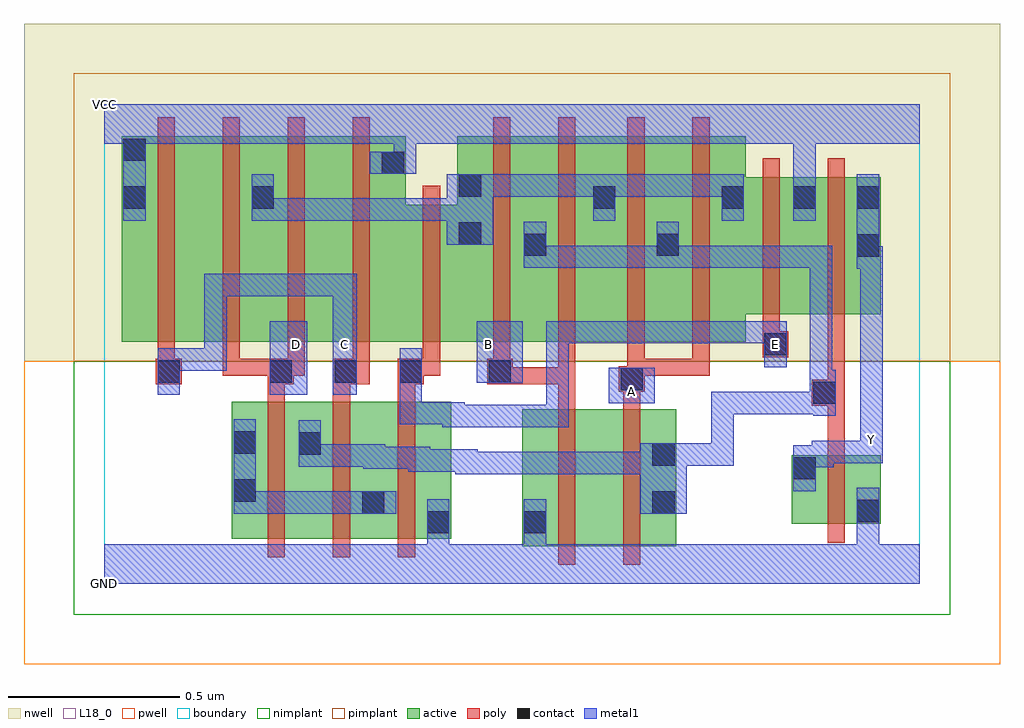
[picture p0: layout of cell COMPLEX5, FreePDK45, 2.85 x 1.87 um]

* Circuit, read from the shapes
.subckt COMPLEX5 A B C D E GND VCC Y
M1 n1 D n2 VSUBS nfet w=0.4u l=0.05u
M2 n2 C n1 VSUBS nfet w=0.4u l=0.05u
M3 GND E n2 VSUBS nfet w=0.4u l=0.05u
M4 n3 B GND VSUBS nfet w=0.4u l=0.05u
M5 n1 A n3 VSUBS nfet w=0.4u l=0.05u
M6 GND n1 Y VSUBS nfet w=0.2u l=0.05u
M7 n4 C VCC n5 pfet w=0.6u l=0.05u
M8 n6 D n4 n5 pfet w=0.6u l=0.05u
M9 n7 D n6 n5 pfet w=0.6u l=0.05u
M10 VCC C n7 n5 pfet w=0.6u l=0.05u
M11 n6 E VCC n5 pfet w=0.4u l=0.05u m=2
M12 n1 B n6 n5 pfet w=0.6u l=0.05u m=2
M13 n1 A n6 n5 pfet w=0.6u l=0.05u m=2
M14 Y n1 VCC n5 pfet w=0.4u l=0.05u
.ends

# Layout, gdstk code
import gdstk
lib = gdstk.Library(unit=1e-6, precision=1e-09)
def R(c, l, rs):  # rectangles x0, y0, x1, y1
    for r in rs: c.add(gdstk.rectangle(r[:2], r[2:], *l))
def A(c, l, x, y, w, h, nx, ny, dx, dy):  # array of equal rectangles
    R(c, l, [(x+i*dx, y+j*dy, x+i*dx+w, y+j*dy+h) for i in range(nx) for j in range(ny)])
active = (1, 0)
pwell = (2, 0)
nwell = (3, 0)
nimplant = (4, 0)
pimplant = (5, 0)
poly = (9, 0)
contact = (10, 0)
metal1 = (11, 0)
L18_0 = (18, 0)
boundary = (235, 0)

complex5 = lib.new_cell('COMPLEX5')
R(complex5, active, [(1.22,0.11,1.445,0.51), (1.445,0.11,1.67,0.51), (0.372,0.132,0.637,0.532), (0.562,0.132,0.822,0.532), (0.747,0.132,1.012,0.532), (0.937,0.142,1.012,0.532), (1.22,0.142,1.295,0.51), (2.007,0.175,2.267,0.375), (2.192,0.175,2.267,0.375), (0.372,0.195,0.447,0.532), (0.562,0.195,0.637,0.492), (0.747,0.195,0.822,0.492), (1.595,0.195,1.67,0.51), (2.007,0.2,2.082,0.375), (0.05,0.707,0.275,1.307), (0.05,0.707,0.125,1.305), (0.275,0.707,0.5,1.307), (0.425,0.707,0.5,1.2), (0.425,0.707,0.655,1.307), (0.655,0.707,0.88,1.307), (0.805,0.707,1.105,1.107), (1.03,0.707,1.295,1.307), (1.22,0.707,1.295,1.07), (1.22,0.707,1.497,1.307), (1.422,0.707,1.682,1.307), (1.422,0.707,1.497,1.2), (1.607,0.707,1.872,1.307), (1.607,0.707,1.682,1.07), (1.797,0.787,2.082,1.187), (1.797,0.787,1.872,1.2), (2.007,0.787,2.267,1.187), (2.007,0.787,2.082,1.165), (2.192,0.787,2.267,1.165), (0.805,0.802,0.88,1.267), (1.03,0.907,1.105,1.2)])
R(complex5, pwell, [(-0.235,-0.235,2.615,0.65)])
R(complex5, nwell, [(-0.235,0.65,2.615,1.635)])
R(complex5, nimplant, [(-0.09,-0.09,2.47,0.65)])
R(complex5, pimplant, [(-0.09,0.65,2.47,1.49)])
A(complex5, poly, 0.477, 0.077, 0.05, 0.51, 3, 1, 0.19, 0)
A(complex5, poly, 0.477, 0.537, 0.05, 0.095, 3, 1, 0.19, 0)
A(complex5, poly, 0.155, 0.607, 0.05, 0.095, 4, 1, 0.19, 0)
A(complex5, poly, 0.155, 0.652, 0.05, 0.71, 4, 1, 0.19, 0)
R(complex5, poly, [(1.325,0.055,1.375,0.565), (1.515,0.055,1.565,0.565), (2.112,0.12,2.162,0.43), (2.112,0.38,2.162,0.57), (1.325,0.515,1.375,0.632), (1.515,0.515,1.565,0.61), (2.065,0.52,2.162,0.595), (2.112,0.545,2.162,0.782), (2.112,0.545,2.162,0.595), (2.112,0.545,2.162,0.595), (1.502,0.56,1.577,0.635), (0.15,0.582,0.225,0.657), (0.477,0.582,0.552,0.657), (0.667,0.582,0.717,0.632), (0.667,0.582,0.717,0.632), (0.667,0.582,0.775,0.657), (0.857,0.582,0.932,0.657), (1.117,0.582,1.192,0.657), (1.142,0.582,1.192,0.632), (1.142,0.582,1.192,0.632), (1.142,0.582,1.375,0.632), (1.325,0.582,1.375,0.632), (1.325,0.582,1.375,0.632), (1.325,0.582,1.375,0.632), (1.325,0.582,1.375,0.702), (1.527,0.585,1.577,0.657), (0.345,0.607,0.395,0.657), (0.345,0.607,0.552,0.657), (0.502,0.607,0.552,0.657), (0.502,0.607,0.552,0.657), (0.502,0.607,0.552,0.657), (0.502,0.607,0.585,0.657), (0.882,0.607,0.932,0.657), (0.882,0.607,0.98,0.657), (0.93,0.607,0.98,0.702), (1.135,0.607,1.185,0.702), (1.527,0.607,1.577,0.657), (1.527,0.607,1.577,0.657), (1.527,0.607,1.577,0.657), (1.527,0.607,1.577,0.702), (1.527,0.607,1.767,0.657), (1.717,0.607,1.767,0.657), (1.717,0.607,1.767,0.702), (0.93,0.652,0.98,1.162), (1.135,0.652,1.185,1.362), (1.325,0.652,1.375,1.362), (1.527,0.652,1.577,1.362), (1.717,0.652,1.767,1.362), (1.922,0.662,1.997,0.737), (1.922,0.687,1.972,0.782), (1.922,0.732,1.972,1.242), (2.112,0.732,2.162,1.242)])
A(complex5, contact, 0.482, 0.587, 0.065, 0.065, 3, 1, 0.19, 0)
R(complex5, contact, [(0.942,0.147,1.007,0.212), (1.225,0.147,1.29,0.212), (2.197,0.18,2.262,0.245), (0.752,0.205,0.817,0.27), (1.6,0.205,1.665,0.27), (0.377,0.24,0.442,0.305), (2.012,0.305,2.077,0.37), (1.6,0.345,1.665,0.41), (0.567,0.377,0.632,0.442), (0.377,0.38,0.442,0.445), (2.07,0.525,2.135,0.59), (1.507,0.565,1.572,0.63), (0.155,0.587,0.22,0.652), (1.122,0.587,1.187,0.652), (1.927,0.667,1.992,0.732), (2.197,0.955,2.262,1.02), (1.225,0.957,1.29,1.022), (1.612,0.957,1.677,1.022), (1.035,0.99,1.1,1.055), (0.055,1.095,0.12,1.16), (0.43,1.095,0.495,1.16), (1.427,1.095,1.492,1.16), (1.802,1.095,1.867,1.16), (2.012,1.095,2.077,1.16), (2.197,1.095,2.262,1.16), (1.035,1.13,1.1,1.195), (0.81,1.197,0.875,1.262), (0.055,1.235,0.12,1.3)])
R(complex5, metal1, [(0,0,2.38,0.115), (0.942,0.05,1.007,0.177), (1.225,0.05,1.29,0.177), (2.197,0.05,2.262,0.115), (2.197,0.05,2.262,0.115), (2.197,0.05,2.262,0.115), (2.197,0.05,2.262,0.115), (2.197,0.05,2.262,0.21), (0.942,0.112,1.007,0.247), (1.225,0.112,1.29,0.247), (2.197,0.145,2.262,0.28), (0.377,0.205,0.442,0.48), (0.377,0.205,0.495,0.27), (0.43,0.205,0.495,0.27), (0.43,0.205,0.632,0.27), (0.567,0.205,0.632,0.27), (0.567,0.205,0.632,0.27), (0.567,0.205,0.632,0.27), (0.567,0.205,0.782,0.27), (0.717,0.205,0.852,0.27), (1.565,0.205,1.7,0.41), (2.012,0.27,2.077,0.405), (1.025,0.32,1.09,0.385), (1.025,0.32,1.09,0.385), (1.025,0.32,1.272,0.385), (1.025,0.32,1.09,0.392), (1.207,0.32,1.272,0.385), (1.207,0.32,1.4,0.385), (1.335,0.32,1.4,0.385), (1.335,0.32,1.492,0.385), (1.427,0.32,1.492,0.385), (1.427,0.32,1.63,0.385), (1.565,0.32,1.63,0.385), (1.565,0.32,1.63,0.385), (0.887,0.327,1.09,0.392), (0.887,0.327,0.952,0.4), (0.755,0.335,0.82,0.407), (0.755,0.335,0.952,0.4), (2.012,0.34,2.13,0.405), (2.065,0.34,2.13,0.417), (0.567,0.342,0.632,0.407), (0.567,0.342,0.632,0.407), (0.567,0.342,0.632,0.477), (0.567,0.342,0.82,0.407), (1.635,0.345,1.837,0.41), (1.772,0.345,1.837,0.41), (1.772,0.345,1.837,0.41), (1.772,0.345,1.837,0.41), (1.772,0.345,1.837,0.56), (2.065,0.352,2.272,0.417), (2.207,0.352,2.272,0.417), (2.207,0.352,2.272,0.417), (2.207,0.352,2.272,0.487), (2.207,0.422,2.272,0.985), (0.987,0.457,1.09,0.522), (0.987,0.457,1.052,0.53), (1.025,0.457,1.09,0.522), (1.025,0.457,1.355,0.522), (1.29,0.457,1.355,0.522), (1.29,0.457,1.355,0.767), (0.862,0.465,1.052,0.53), (0.862,0.465,0.927,0.687), (2.07,0.49,2.135,0.625), (1.772,0.495,1.837,0.56), (1.772,0.495,1.992,0.56), (1.927,0.495,1.992,0.56), (1.927,0.495,2.125,0.56), (2.06,0.495,2.125,0.56), (2.06,0.495,2.135,0.56), (2.06,0.495,2.125,0.987), (1.472,0.527,1.607,0.63), (0.155,0.552,0.22,0.687), (0.482,0.552,0.592,0.767), (0.667,0.552,0.737,0.905), (1.087,0.587,1.222,0.767), (0.155,0.622,0.22,0.687), (0.155,0.622,0.22,0.687), (0.155,0.622,0.357,0.687), (0.292,0.622,0.357,0.687), (0.292,0.622,0.357,0.687), (0.292,0.622,0.357,0.905), (1.927,0.632,1.992,0.767), (1.29,0.702,1.355,0.767), (1.29,0.702,1.4,0.767), (1.335,0.702,1.4,0.767), (1.335,0.702,1.492,0.767), (1.427,0.702,1.492,0.767), (1.427,0.702,1.63,0.767), (1.565,0.702,1.63,0.767), (1.565,0.702,1.63,0.767), (1.565,0.702,1.63,0.767), (1.565,0.702,1.837,0.767), (1.772,0.702,1.837,0.767), (1.772,0.702,1.837,0.767), (1.772,0.702,1.837,0.767), (1.772,0.702,1.992,0.767), (0.292,0.84,0.495,0.905), (0.43,0.84,0.495,0.905), (0.43,0.84,0.645,0.905), (0.58,0.84,0.645,0.905), (0.58,0.84,0.732,0.905), (2.197,0.92,2.262,0.985), (2.197,0.92,2.262,1.195), (2.197,0.92,2.272,0.985), (1.225,0.922,1.29,1.057), (1.225,0.922,1.4,0.987), (1.335,0.922,1.4,0.987), (1.335,0.922,1.492,0.987), (1.427,0.922,1.492,0.987), (1.427,0.922,1.677,0.987), (1.612,0.922,1.677,0.987), (1.612,0.922,1.677,0.987), (1.612,0.922,1.677,1.057), (1.612,0.922,1.84,0.987), (1.775,0.922,1.84,0.987), (1.775,0.922,1.84,0.987), (1.775,0.922,1.84,0.987), (1.775,0.922,1.977,0.987), (1.912,0.922,1.977,0.987), (1.912,0.922,2.125,0.987), (2.06,0.922,2.125,0.987), (2.06,0.922,2.125,0.987), (2.06,0.922,2.125,0.987), (1,0.99,1.135,1.195), (0.055,1.06,0.12,1.335), (0.43,1.06,0.495,1.125), (0.43,1.06,0.495,1.125), (0.43,1.06,0.495,1.195), (0.43,1.06,0.645,1.125), (0.58,1.06,0.645,1.125), (0.58,1.06,0.645,1.125), (0.58,1.06,0.645,1.125), (0.58,1.06,0.782,1.125), (0.717,1.06,0.782,1.125), (0.717,1.06,0.782,1.125), (0.717,1.06,0.782,1.125), (0.717,1.06,1.065,1.125), (1.427,1.06,1.492,1.195), (1.802,1.06,1.867,1.195), (2.012,1.06,2.077,1.195), (1.07,1.13,1.135,1.195), (1.07,1.13,1.135,1.195), (1.07,1.13,1.135,1.195), (1.07,1.13,1.135,1.195), (1.07,1.13,1.272,1.195), (1.207,1.13,1.272,1.195), (1.207,1.13,1.4,1.195), (1.335,1.13,1.4,1.195), (1.335,1.13,1.492,1.195), (1.427,1.13,1.63,1.195), (1.565,1.13,1.63,1.195), (1.565,1.13,1.63,1.195), (1.565,1.13,1.63,1.195), (1.565,1.13,1.84,1.195), (1.775,1.13,1.84,1.195), (1.775,1.13,1.867,1.195), (2.012,1.13,2.077,1.35), (0.775,1.197,0.91,1.262), (0.845,1.197,0.91,1.35), (0.055,1.27,0.12,1.35), (0,1.285,2.38,1.4)])
R(complex5, L18_0, [(0,0,2.38,0.115), (0.942,0.05,1.007,0.177), (1.225,0.05,1.29,0.177), (2.197,0.05,2.262,0.115), (2.197,0.05,2.262,0.115), (2.197,0.05,2.262,0.115), (2.197,0.05,2.262,0.115), (2.197,0.05,2.262,0.21), (0.942,0.112,1.007,0.247), (1.225,0.112,1.29,0.247), (2.197,0.145,2.262,0.28), (2.012,0.27,2.077,0.405), (2.012,0.34,2.13,0.405), (2.065,0.34,2.13,0.417), (2.065,0.352,2.272,0.417), (2.207,0.352,2.272,0.487), (2.207,0.352,2.272,0.417), (2.207,0.352,2.272,0.417), (2.207,0.387,2.272,0.452), (2.207,0.422,2.272,0.985), (0.987,0.457,1.052,0.53), (0.987,0.457,1.09,0.522), (1.025,0.457,1.09,0.522), (1.025,0.457,1.355,0.522), (1.29,0.457,1.355,0.522), (1.29,0.457,1.355,0.767), (0.862,0.465,0.927,0.687), (0.862,0.465,1.052,0.53), (1.472,0.527,1.607,0.63), (1.507,0.527,1.572,0.592), (0.155,0.552,0.22,0.687), (0.482,0.552,0.592,0.767), (0.667,0.552,0.737,0.905), (1.087,0.587,1.222,0.767), (0.155,0.622,0.22,0.687), (0.155,0.622,0.22,0.687), (0.155,0.622,0.357,0.687), (0.292,0.622,0.357,0.687), (0.292,0.622,0.357,0.687), (0.292,0.622,0.357,0.905), (1.927,0.632,1.992,0.767), (0.527,0.667,0.592,0.732), (0.667,0.667,0.732,0.732), (1.087,0.667,1.152,0.732), (1.927,0.667,1.992,0.732), (1.29,0.702,1.355,0.767), (1.29,0.702,1.4,0.767), (1.335,0.702,1.4,0.767), (1.335,0.702,1.492,0.767), (1.427,0.702,1.492,0.767), (1.427,0.702,1.63,0.767), (1.565,0.702,1.63,0.767), (1.565,0.702,1.63,0.767), (1.565,0.702,1.63,0.767), (1.565,0.702,1.837,0.767), (1.772,0.702,1.837,0.767), (1.772,0.702,1.837,0.767), (1.772,0.702,1.837,0.767), (1.772,0.702,1.992,0.767), (0.292,0.84,0.495,0.905), (0.43,0.84,0.495,0.905), (0.43,0.84,0.645,0.905), (0.58,0.84,0.645,0.905), (0.58,0.84,0.732,0.905), (2.197,0.92,2.262,1.195), (2.197,0.92,2.262,0.985), (2.197,0.92,2.272,0.985), (0.055,1.06,0.12,1.335), (2.012,1.06,2.077,1.195), (2.012,1.13,2.077,1.35), (0.775,1.197,0.91,1.262), (0.845,1.197,0.91,1.35), (0.055,1.27,0.12,1.35), (0,1.285,2.38,1.4)])
R(complex5, boundary, [(0,0,2.38,1.4)])
complex5.add(gdstk.Label('A', (1.54,0.56), layer=11, texttype=0))
complex5.add(gdstk.Label('B', (1.12,0.7), layer=11, texttype=0))
complex5.add(gdstk.Label('C', (0.7,0.7), layer=11, texttype=0))
complex5.add(gdstk.Label('D', (0.56,0.7), layer=11, texttype=0))
complex5.add(gdstk.Label('E', (1.96,0.7), layer=11, texttype=0))
complex5.add(gdstk.Label('Y', (2.24,0.42), layer=11, texttype=0))
complex5.add(gdstk.Label('VCC', (0,1.4), layer=11, texttype=0))
complex5.add(gdstk.Label('GND', (0,0), layer=11, texttype=0))

lib.write_gds('COMPLEX5.gds')
